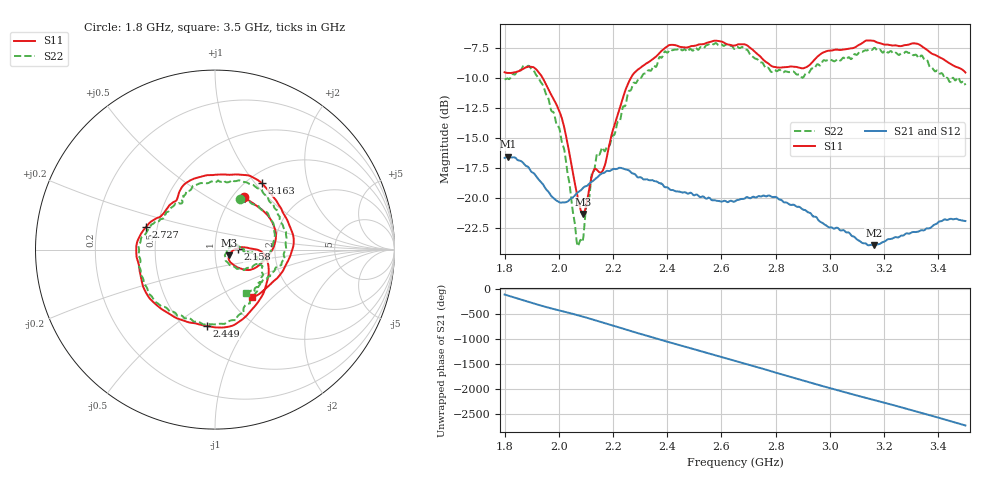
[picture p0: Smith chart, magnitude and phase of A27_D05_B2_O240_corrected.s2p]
! Created with skrf 1.9.0 (http://scikit-rf.org).
# Hz S RI R 50.0
!freq ReS11 ImS11 ReS21 ImS21 ReS12 ImS12 ReS22 ImS22
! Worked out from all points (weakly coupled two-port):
!   1601 points, 1.8 GHz to 3.5 GHz, reference 50 ohm
!   highest |S21| = -16.57 dB at 1.812 GHz (marker M1); lowest = -24.0 dB at 3.162 GHz (marker M2)
!   lowest |S11| = -21.4 dB at 2.089 GHz (marker M3), VSWR 1.19, Z = 58.4 - j3.86 ohm
!   |S11| at or under -10 dB: 1.941 GHz to 2.265 GHz (323.8 MHz wide, 15.4 % of centre)
!   |S22| runs from -24.0 to -7.1 dB; largest |S21 - S12| = 0.0027
!   S11 on the Smith chart (normalised r, x): 1.8 GHz: 1.13, +0.74; 2.158 GHz: 1.29, +0.01; 2.449 GHz: 0.64, -0.67; 2.727 GHz: 0.43, +0.13; 3.163 GHz: 1.16, +1.08; 3.5 GHz: 1.27, -0.75
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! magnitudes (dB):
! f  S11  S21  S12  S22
! 1.8 GHz  -9.5  -16.7  -16.7  -10.1
! 1.812 GHz  -9.6  -16.6  -16.6  -10.0
! 1.887 GHz  -9.0  -17.4  -17.5  -9.0
! 1.941 GHz  -10.0  -18.9  -18.9  -10.6
! 2.013 GHz  -13.5  -20.4  -20.4  -15.5
! 2.066 GHz  -19.5  -19.6  -19.6  -23.6
! 2.084 GHz  -21.2  -19.3  -19.3  -23.6
! 2.089 GHz  -21.4  -19.2  -19.2  -23.5
! 2.127 GHz  -17.8  -18.6  -18.6  -17.9
! 2.158 GHz  -17.9  -18.0  -17.9  -15.8
! 2.26 GHz  -10.2  -17.7  -17.7  -11.0
! 2.367 GHz  -8.0  -18.7  -18.7  -8.4
! 2.449 GHz  -7.4  -19.5  -19.5  -7.6
! 2.65 GHz  -7.3  -20.3  -20.3  -7.5
! 2.727 GHz  -7.8  -20.0  -20.0  -8.4
! 2.799 GHz  -9.1  -19.9  -19.9  -9.3
! 2.934 GHz  -8.7  -21.4  -21.4  -9.2
! 3.162 GHz  -6.9  -24.0  -23.9  -7.5
! 3.163 GHz  -6.9  -24.0  -23.9  -7.5
! 3.217 GHz  -7.2  -23.5  -23.4  -7.8
! 3.325 GHz  -7.1  -22.8  -22.8  -8.2
! 3.5 GHz  -9.5  -21.9  -21.9  -10.6
